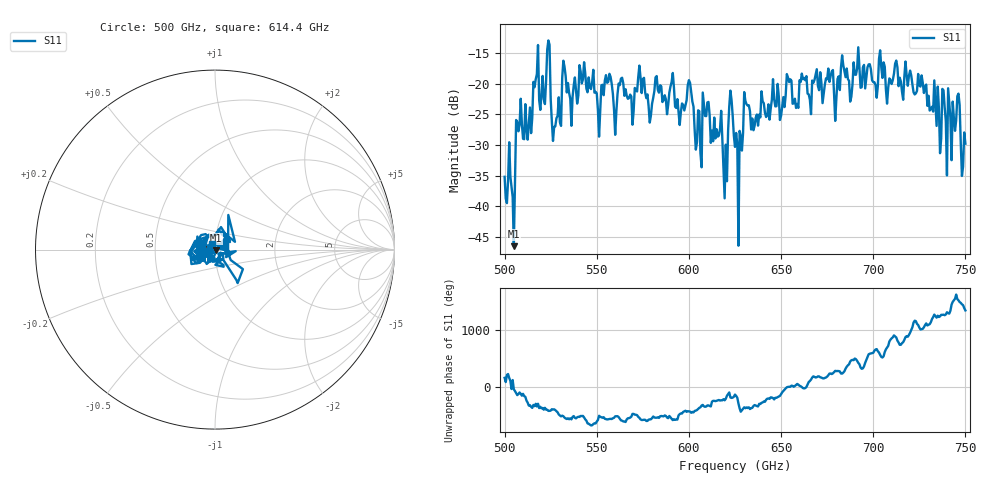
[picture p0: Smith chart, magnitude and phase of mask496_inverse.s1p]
!Created with skrf (http://scikit-rf.org).
# GHz S MA R 50.0
!freq magS11 angS11
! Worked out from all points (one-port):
!   401 points, 500 GHz to 750 GHz, reference 50 ohm
!   lowest |S11| = -46.5 dB at 505 GHz (marker M1), VSWR 1.01, Z = 50.4 - j0.305 ohm
!   |S11| at or under -10 dB: start of sweep to end of sweep
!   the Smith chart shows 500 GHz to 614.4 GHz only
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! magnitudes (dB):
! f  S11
! 500 GHz  -35.2
! 505 GHz  -46.5
! 507.5 GHz  -27.8
! 513.8 GHz  -23.9
! 516.9 GHz  -19.3
! 520.6 GHz  -18.7
! 523.8 GHz  -12.9
! 526.9 GHz  -27.0
! 531.2 GHz  -19.0
! 550.6 GHz  -24.3
! 556.2 GHz  -19.7
! 560 GHz  -28.3
! 562.5 GHz  -20.2
! 593.8 GHz  -22.5
! 600.6 GHz  -19.9
! 605.6 GHz  -24.5
! 608.8 GHz  -25.3
! 619.4 GHz  -38.7
! 622.5 GHz  -21.1
! 625 GHz  -30.3
! 627.5 GHz  -27.7
! 631.2 GHz  -23.4
! 656.2 GHz  -23.3
! 687.5 GHz  -22.9
! 718.8 GHz  -20.3
! 735.6 GHz  -24.0
! 745.6 GHz  -22.0
! 750 GHz  -29.8
